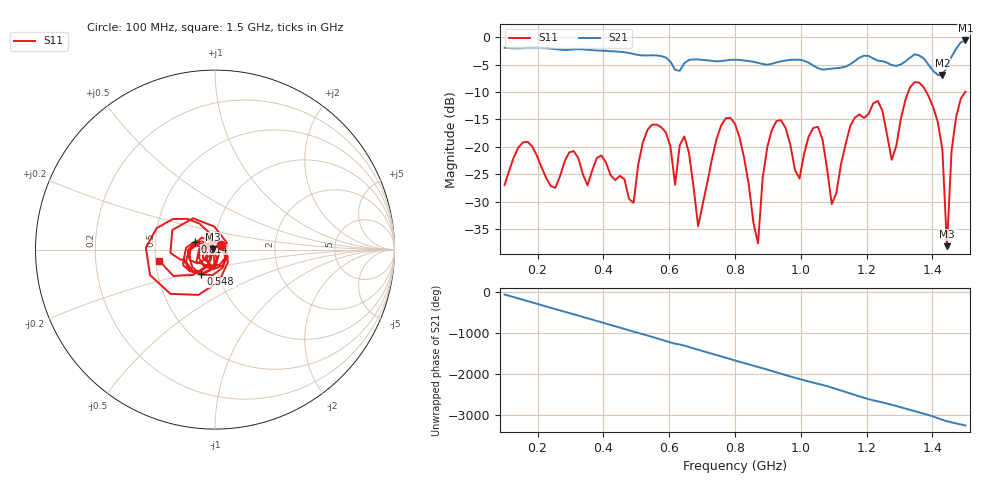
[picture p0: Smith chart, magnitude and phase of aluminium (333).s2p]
! NanoVNA-App
! Date: 2025-09-25 14:57:52
! Start: 100MHz Stop: 1,5GHz Points: 101
! S-Parameter data: F S11 S21 S12 S22
# Hz S RI R 50
!  Frequency  S11_Real  S11_Imag  S21_Real  S21_Imag  S12_Real  S12_Imag  S22_Real  S22_Imag
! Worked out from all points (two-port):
!   101 points, 100 MHz to 1.5 GHz, reference 50 ohm
!   highest |S21| = -0.59 dB at 1.5 GHz (marker M1); lowest = -6.9 dB at 1.43 GHz (marker M2)
!   |S21| within 3 dB of the highest: start of sweep to 583.4 MHz; 1.458 GHz to end of sweep (the widest 2 of 4)
!   lowest |S11| = -38.1 dB at 1.444 GHz (marker M3), VSWR 1.03, Z = 48.8 + j0.211 ohm
!   |S11| at or under -10 dB: start of sweep to 1.327 GHz; 1.381 GHz to 1.5 GHz (118.4 MHz wide, 8.22 % of centre)
!   S12 and S22 are empty: the file has one direction only
!   S11 on the Smith chart (normalised r, x): 100 MHz: 1.07, +0.06; 548 MHz: 0.82, -0.23; 814 MHz: 0.79, +0.07; 1.5 GHz: 0.52, -0.07
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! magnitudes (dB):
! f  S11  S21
! 100 MHz  -27.0  -1.9
! 338 MHz  -25.0  -2.2
! 492 MHz  -30.2  -3.1
! 548 MHz  -16.0  -3.3
! 576 MHz  -16.4  -3.5
! 618 MHz  -26.9  -6.0
! 646 MHz  -18.1  -4.8
! 688 MHz  -34.5  -4.1
! 800 MHz  -15.8  -4.1
! 814 MHz  -18.3  -4.1
! 870 MHz  -37.6  -4.7
! 912 MHz  -16.9  -4.8
! 996 MHz  -25.8  -4.1
! 1.038 GHz  -16.6  -5.2
! 1.094 GHz  -30.5  -5.7
! 1.22 GHz  -12.1  -3.9
! 1.276 GHz  -22.4  -5.1
! 1.346 GHz  -8.2  -3.1
! 1.43 GHz  -20.5  -6.9
! 1.444 GHz  -38.1  -5.4
! 1.458 GHz  -20.7  -3.6
! 1.5 GHz  -10.0  -0.6
